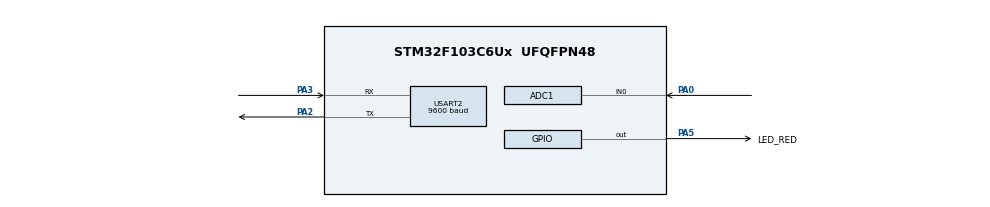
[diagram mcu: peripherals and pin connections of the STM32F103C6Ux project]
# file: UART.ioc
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ADC1.Channel-0\#ChannelRegularConversion=ADC_CHANNEL_0
ADC1.ContinuousConvMode=ENABLE
ADC1.NbrOfConversionFlag=1
ADC1.Rank-0\#ChannelRegularConversion=1
ADC1.SamplingTime-0\#ChannelRegularConversion=ADC_SAMPLETIME_1CYCLE_5
ADC1.master=1
Mcu.Family=STM32F1
Mcu.Name=STM32F103C6Ux
Mcu.Package=UFQFPN48
NVIC.PriorityGroup=NVIC_PRIORITYGROUP_4
NVIC.TIM2_IRQn=true\:0\:0\:false\:false\:true\:true\:true
NVIC.USART2_IRQn=true\:0\:0\:false\:false\:true\:true\:true
PA0-WKUP.Signal=ADCx_IN0
PA2.Mode=Asynchronous
PA2.Signal=USART2_TX
PA3.Mode=Asynchronous
PA3.Signal=USART2_RX
PA5.GPIO_Label=LED_RED
PA5.Signal=GPIO_Output
ProjectManager.HeapSize=0x200
ProjectManager.StackSize=0x400
ProjectManager.TargetToolchain=STM32CubeIDE
RCC.APB1Freq_Value=8000000
RCC.APB2Freq_Value=8000000
SH.ADCx_IN0.0=ADC1_IN0,IN0
TIM2.Period=9
TIM2.Prescaler=7999
USART2.BaudRate=9600
USART2.VirtualMode=VM_ASYNC
VP_SYS_VS_ND.Mode=No_Debug
VP_TIM2_VS_ClockSourceINT.Mode=Internal
board=custom

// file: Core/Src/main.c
/* USER CODE BEGIN Header */
/**
  ******************************************************************************
  * @file           : main.c
  * @brief          : Main program body
  ******************************************************************************
  * @attention
  *
  * <h2><center>&copy; Copyright (c) 2026 STMicroelectronics.
  * All rights reserved.</center></h2>
  *
  * This software component is licensed by ST under BSD 3-Clause license,
  * the "License"; You may not use this file except in compliance with the
  * License. You may obtain a copy of the License at:
  *                        opensource.org/licenses/BSD-3-Clause
  *
  ******************************************************************************
  */
/* USER CODE END Header */
#include "main.h"

/* USER CODE BEGIN Includes */
#include "software_timer.h"
#include "command_parser.h"
#include "uart_communication.h"
/* USER CODE END Includes */

ADC_HandleTypeDef hadc1;

TIM_HandleTypeDef htim2;

UART_HandleTypeDef huart2;

/* USER CODE BEGIN PV */
uint8_t temp = 0;
/* USER CODE END PV */

void SystemClock_Config(void);
static void MX_GPIO_Init(void);
static void MX_ADC1_Init(void);
static void MX_TIM2_Init(void);
static void MX_USART2_UART_Init(void);

/* USER CODE BEGIN 0 */
// UART Rx interrupt callback
void HAL_UART_RxCpltCallback(UART_HandleTypeDef *huart) {
    if (huart->Instance == USART2) {
        buffer[index_buffer++] = temp;
        if (index_buffer == MAX_BUFFER_SIZE) {
            index_buffer = 0;
        }
        buffer_flag = 1;
        HAL_UART_Receive_IT(&huart2, &temp, 1);
    }
}

// TIM2 10ms interrupt callback
void HAL_TIM_PeriodElapsedCallback(TIM_HandleTypeDef *htim) {
    if (htim->Instance == TIM2) {
        timerRun();
    }
}
/* USER CODE END 0 */

int main(void)
{
  /* USER CODE BEGIN 1 */
    HAL_Init();
    SystemClock_Config();

    MX_GPIO_Init();
    MX_USART2_UART_Init();
    MX_ADC1_Init();
    MX_TIM2_Init();
  /* USER CODE END 1 */

  /* MCU Configuration--------------------------------------------------------*/

  /* Reset of all peripherals, Initializes the Flash interface and the Systick. */
  HAL_Init();

  /* Configure the system clock */
  SystemClock_Config();

  /* Initialize all configured peripherals */
  MX_GPIO_Init();
  MX_ADC1_Init();
  MX_TIM2_Init();
  MX_USART2_UART_Init();
  /* USER CODE BEGIN 2 */
  HAL_ADC_Start(&hadc1);
  HAL_TIM_Base_Start_IT(&htim2);
  HAL_UART_Receive_IT(&huart2, &temp, 1);
  setTimer0(50); // 500ms LED blinky
  /* USER CODE END 2 */

  /* Infinite loop */
  /* USER CODE BEGIN WHILE */
  while (1)
  {
      if (timer0_flag == 1) {
           HAL_GPIO_TogglePin(LED_RED_GPIO_Port, LED_RED_Pin);
           setTimer0(50);
       }

       if (buffer_flag == 1) {
           command_parser_fsm();
           buffer_flag = 0;
       }

       uart_communication_fsm();
    /* USER CODE END WHILE */

  }
}

void SystemClock_Config(void)
{
  RCC_OscInitTypeDef RCC_OscInitStruct = {0};
  RCC_ClkInitTypeDef RCC_ClkInitStruct = {0};
  RCC_PeriphCLKInitTypeDef PeriphClkInit = {0};

  /** Initializes the RCC Oscillators according to the specified parameters
  * in the RCC_OscInitTypeDef structure.
  */
  RCC_OscInitStruct.OscillatorType = RCC_OSCILLATORTYPE_HSI;
  RCC_OscInitStruct.HSIState = RCC_HSI_ON;
  RCC_OscInitStruct.HSICalibrationValue = RCC_HSICALIBRATION_DEFAULT;
  RCC_OscInitStruct.PLL.PLLState = RCC_PLL_NONE;
  if (HAL_RCC_OscConfig(&RCC_OscInitStruct) != HAL_OK)
  {
    Error_Handler();
  }
  /** Initializes the CPU, AHB and APB buses clocks
  */
  RCC_ClkInitStruct.ClockType = RCC_CLOCKTYPE_HCLK|RCC_CLOCKTYPE_SYSCLK
                              |RCC_CLOCKTYPE_PCLK1|RCC_CLOCKTYPE_PCLK2;
  RCC_ClkInitStruct.SYSCLKSource = RCC_SYSCLKSOURCE_HSI;
  RCC_ClkInitStruct.AHBCLKDivider = RCC_SYSCLK_DIV1;
  RCC_ClkInitStruct.APB1CLKDivider = RCC_HCLK_DIV1;
  RCC_ClkInitStruct.APB2CLKDivider = RCC_HCLK_DIV1;

  if (HAL_RCC_ClockConfig(&RCC_ClkInitStruct, FLASH_LATENCY_0) != HAL_OK)
  {
    Error_Handler();
  }
  PeriphClkInit.PeriphClockSelection = RCC_PERIPHCLK_ADC;
  PeriphClkInit.AdcClockSelection = RCC_ADCPCLK2_DIV2;
  if (HAL_RCCEx_PeriphCLKConfig(&PeriphClkInit) != HAL_OK)
  {
    Error_Handler();
  }
}

static void MX_ADC1_Init(void)
{

  ADC_ChannelConfTypeDef sConfig = {0};

  /** Common config
  */
  hadc1.Instance = ADC1;
  hadc1.Init.ScanConvMode = ADC_SCAN_DISABLE;
  hadc1.Init.ContinuousConvMode = ENABLE;
  hadc1.Init.DiscontinuousConvMode = DISABLE;
  hadc1.Init.ExternalTrigConv = ADC_SOFTWARE_START;
  hadc1.Init.DataAlign = ADC_DATAALIGN_RIGHT;
  hadc1.Init.NbrOfConversion = 1;
  if (HAL_ADC_Init(&hadc1) != HAL_OK)
  {
    Error_Handler();
  }
  /** Configure Regular Channel
  */
  sConfig.Channel = ADC_CHANNEL_0;
  sConfig.Rank = ADC_REGULAR_RANK_1;
  sConfig.SamplingTime = ADC_SAMPLETIME_1CYCLE_5;
  if (HAL_ADC_ConfigChannel(&hadc1, &sConfig) != HAL_OK)
  {
    Error_Handler();
  }

}

static void MX_TIM2_Init(void)
{

  TIM_ClockConfigTypeDef sClockSourceConfig = {0};
  TIM_MasterConfigTypeDef sMasterConfig = {0};

  htim2.Instance = TIM2;
  htim2.Init.Prescaler = 7999;
  htim2.Init.CounterMode = TIM_COUNTERMODE_UP;
  htim2.Init.Period = 9;
  htim2.Init.ClockDivision = TIM_CLOCKDIVISION_DIV1;
  htim2.Init.AutoReloadPreload = TIM_AUTORELOAD_PRELOAD_DISABLE;
  if (HAL_TIM_Base_Init(&htim2) != HAL_OK)
  {
    Error_Handler();
  }
  sClockSourceConfig.ClockSource = TIM_CLOCKSOURCE_INTERNAL;
  if (HAL_TIM_ConfigClockSource(&htim2, &sClockSourceConfig) != HAL_OK)
  {
    Error_Handler();
  }
  sMasterConfig.MasterOutputTrigger = TIM_TRGO_RESET;
  sMasterConfig.MasterSlaveMode = TIM_MASTERSLAVEMODE_DISABLE;
  if (HAL_TIMEx_MasterConfigSynchronization(&htim2, &sMasterConfig) != HAL_OK)
  {
    Error_Handler();
  }

}

static void MX_USART2_UART_Init(void)
{

  huart2.Instance = USART2;
  huart2.Init.BaudRate = 9600;
  huart2.Init.WordLength = UART_WORDLENGTH_8B;
  huart2.Init.StopBits = UART_STOPBITS_1;
  huart2.Init.Parity = UART_PARITY_NONE;
  huart2.Init.Mode = UART_MODE_TX_RX;
  huart2.Init.HwFlowCtl = UART_HWCONTROL_NONE;
  huart2.Init.OverSampling = UART_OVERSAMPLING_16;
  if (HAL_UART_Init(&huart2) != HAL_OK)
  {
    Error_Handler();
  }

}

static void MX_GPIO_Init(void)
{
  GPIO_InitTypeDef GPIO_InitStruct = {0};

  /* GPIO Ports Clock Enable */
  __HAL_RCC_GPIOA_CLK_ENABLE();

  /*Configure GPIO pin Output Level */
  HAL_GPIO_WritePin(LED_RED_GPIO_Port, LED_RED_Pin, GPIO_PIN_RESET);

  /*Configure GPIO pin : LED_RED_Pin */
  GPIO_InitStruct.Pin = LED_RED_Pin;
  GPIO_InitStruct.Mode = GPIO_MODE_OUTPUT_PP;
  GPIO_InitStruct.Pull = GPIO_NOPULL;
  GPIO_InitStruct.Speed = GPIO_SPEED_FREQ_LOW;
  HAL_GPIO_Init(LED_RED_GPIO_Port, &GPIO_InitStruct);

}

void Error_Handler(void)
{
  __disable_irq();
  while (1)
  {
  }
}

/************************ (C) COPYRIGHT STMicroelectronics *****END OF FILE****/
